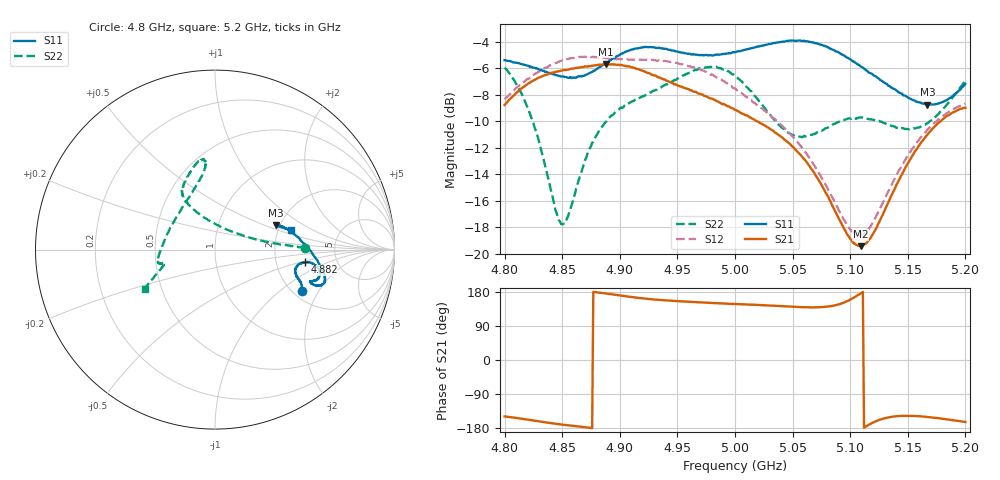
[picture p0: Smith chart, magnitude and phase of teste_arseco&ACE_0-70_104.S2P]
! Network Analyzer HP8722D
! Hewlett-Packard
! Data name: Linha & Wilkinson
! Saver's name: Rodrigo Anjos
! Comments: Teste da utilização de aquisição
! continua pelo VNA HP8722D
! Time and date: 8/5/2025 13:37
!  Frequency  S11  S21  S12  S22
# HZ  S  MA R 50
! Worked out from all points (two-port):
!   401 points, 4.8 GHz to 5.2 GHz, reference 50 ohm
!   highest |S21| = -5.68 dB at 4.888 GHz (marker M1); lowest = -19.4 dB at 5.109 GHz (marker M2)
!   |S21| within 3 dB of the highest: 4.801 GHz to 4.988 GHz (187.3 MHz wide, 3.83 % of centre)
!   lowest |S11| = -8.8 dB at 5.167 GHz (marker M3), VSWR 2.15, Z = 94.9 + j29.9 ohm
!   |S11| at or under -10 dB: nowhere
!   |S22| runs from -17.8 to -5.9 dB; largest |S21 - S12| = 1.1
!   S11 on the Smith chart (normalised r, x): 4.8 GHz: 2.24, -1.44; 4.882 GHz: 2.92, -0.55; 5.2 GHz: 2.34, +0.64
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4.8e9  0.5369 -25.2  0.3638 -149.0  0.3822 10.3  0.5028 1.3
4.813e9  0.5213 -22.2  0.4139 -154.1  0.4319 8.8  0.4154 3.2
4.823e9  0.5074 -20.6  0.4452 -158.8  0.4651 7.2  0.3276 6.2
4.848e9  0.468 -16.2  0.4877 -169.7  0.5322 3.1  0.1321 54.7
4.854e9  0.4629 -14.9  0.4934 -172.0  0.5419 2.2  0.1353 81.0
4.867e9  0.466 -11.1  0.5051 -176.6  0.5519 0.3  0.2052 112.0
4.882e9  0.504 -8.0  0.5163 177.9  0.5501 -0.8  0.2915 120.4
4.888e9  0.5219 -7.9  0.5197 175.6  0.5455 -1.1  0.3138 121.1
4.912e9  0.5899 -10.8  0.5019 165.6  0.5388 -0.5  0.3763 118.7
4.934e9  0.5988 -15.7  0.4622 158.6  0.5357 -1.4  0.42 112.8
4.974e9  0.5613 -18.5  0.3928 151.4  0.4859 -5.3  0.5023 99.4
5e9  0.5751 -19.3  0.3483 147.6  0.4198 -5.3  0.4686 96.7
5.018e9  0.6006 -19.4  0.317 145.6  0.3664 -2.6  0.3901 103.6
5.045e9  0.6339 -17.5  0.2648 141.3  0.292 3.1  0.2879 133.0
5.067e9  0.6266 -13.4  0.207 139.0  0.2216 9.3  0.2806 164.7
5.098e9  0.5476 -2.9  0.1172 156.2  0.1268 37.3  0.3232 -170.6
5.109e9  0.5087 2.1  0.1066 175.5  0.1173 58.9  0.3262 -167.2
5.119e9  0.4765 7.3  0.1171 -166.2  0.1294 78.2  0.3205 -166.1
5.134e9  0.4292 14.1  0.1591 -151.0  0.1749 94.8  0.3064 -165.5
5.167e9  0.3648 22.0  0.2808 -150.2  0.2926 102.4  0.3103 -161.2
5.183e9  0.3779 19.9  0.3285 -156.2  0.3368 102.6  0.3608 -156.7
5.2e9  0.4366 14.7  0.3548 -163.6  0.3682 102.9  0.4494 -150.6
